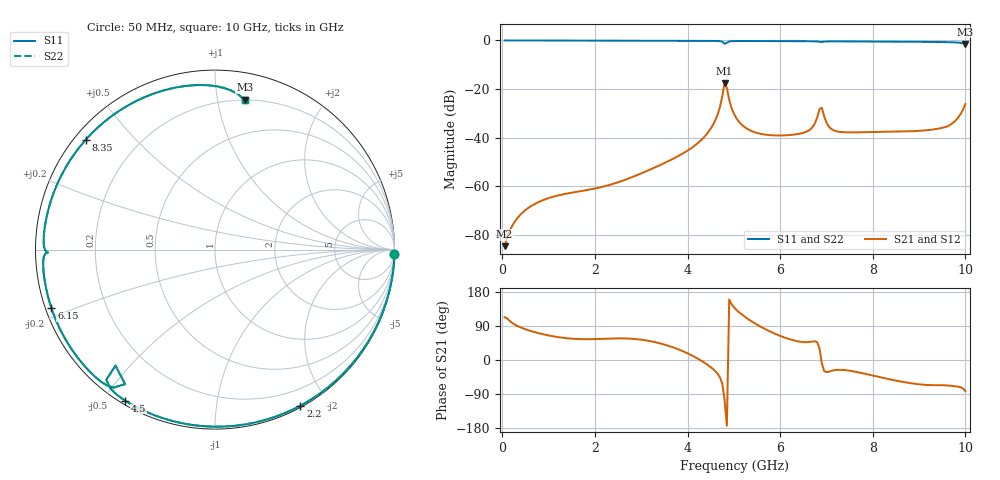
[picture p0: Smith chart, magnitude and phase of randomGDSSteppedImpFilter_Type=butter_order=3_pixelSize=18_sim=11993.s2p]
! freq	dB(S11)	phase(S11)	dB(S12)	phase(S12)
!  dB(S21)	phase(S21)	dB(S22)	phase(S22)
!S-par simulation data
#  GHz  S  DB  R 50
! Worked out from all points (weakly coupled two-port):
!   200 points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, 50 MHz to 10 GHz, reference 50 ohm
!   highest |S21| = -17.52 dB at 4.8 GHz (marker M1); lowest = -84.7 dB at 50 MHz (marker M2)
!   lowest |S11| = -1.4 dB at 10 GHz (marker M3), VSWR 12.44, Z = 9.89 + j59.9 ohm
!   |S11| at or under -10 dB: nowhere
!   |S22| runs from -1.4 to 0.0 dB; largest |S21 - S12| = 0
!   S11 on the Smith chart (normalised r, x): 50 MHz: 0, -80; 2.2 GHz: 0.02, -1.69; 4.5 GHz: 0.01, -0.57; 6.15 GHz: 0.02, -0.17; 8.35 GHz: 0.03, +0.37; 10 GHz: 0.20, +1.20
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0.05  -0.00 -1.4  -84.68 112.8  -84.68 112.8  -0.00 -1.4
0.4  -0.01 -11.5  -71.55 85.8  -71.55 85.8  -0.01 -11.5
0.7  -0.02 -20.0  -67.31 73.5  -67.31 73.5  -0.02 -20.0
1.75  -0.06 -49.2  -61.84 54.9  -61.84 54.9  -0.06 -49.1
2.2  -0.08 -61.3  -60.07 56.1  -60.07 56.1  -0.08 -61.3
3.4  -0.12 -92.6  -51.37 44.1  -51.37 44.1  -0.12 -92.6
4.1  -0.15 -110.3  -44.07 11.7  -44.07 11.7  -0.15 -110.3
4.5  -0.18 -120.8  -36.32 -18.8  -36.32 -18.8  -0.18 -120.7
4.7  -0.29 -127.3  -27.39 -45.8  -27.39 -45.8  -0.29 -127.3
4.8  -1.40 -130.6  -17.52 -105.1  -17.52 -105.1  -1.40 -130.6
4.9  -0.41 -126.3  -24.47 159.7  -24.47 159.7  -0.41 -126.3
5.05  -0.24 -131.9  -31.85 132.9  -31.85 132.9  -0.24 -131.9
5.45  -0.23 -142.5  -37.79 97.0  -37.79 97.0  -0.23 -142.5
6.15  -0.28 -160.3  -39.01 57.0  -39.01 57.0  -0.28 -160.2
6.7  -0.34 -174.8  -35.66 48.8  -35.66 48.8  -0.34 -174.7
6.9  -0.62 -179.0  -27.67 -8.3  -27.67 -8.3  -0.62 -178.9
7  -0.41 178.6  -33.84 -32.2  -33.84 -32.2  -0.41 178.6
7.2  -0.39 172.9  -37.30 -26.4  -37.30 -26.4  -0.39 172.9
8.35  -0.49 139.7  -37.58 -50.6  -37.58 -50.6  -0.49 139.8
9.6  -0.69 97.7  -35.42 -67.0  -35.42 -67.0  -0.69 97.7
9.85  -0.89 86.9  -31.58 -70.3  -31.58 -70.3  -0.90 86.9
10  -1.40 78.8  -26.20 -82.1  -26.20 -82.1  -1.42 78.8
